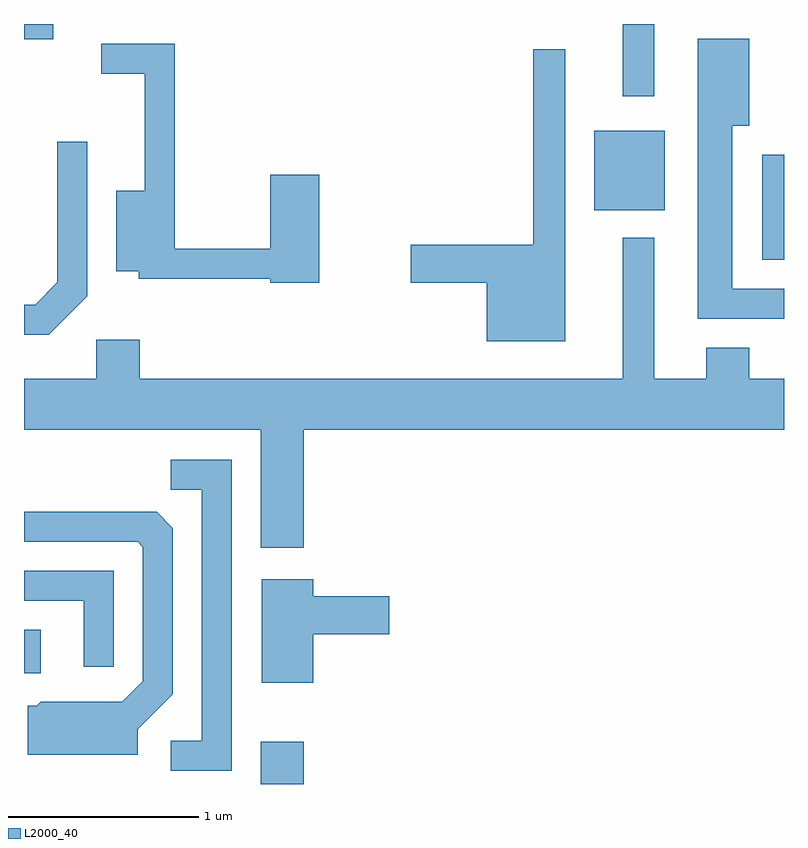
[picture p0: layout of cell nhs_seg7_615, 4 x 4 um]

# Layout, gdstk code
import gdstk
lib = gdstk.Library(unit=1e-6, precision=1e-09)
def R(c, l, rs):  # rectangles x0, y0, x1, y1
    for r in rs: c.add(gdstk.rectangle(r[:2], r[2:], *l))
def P(c, l, *ps):  # polygons
    for p in ps: c.add(gdstk.Polygon(p, *l))
L2000_40 = (2000, 40)

nhs_seg7_615 = lib.new_cell('nhs_seg7_615')
R(nhs_seg7_615, L2000_40, [(204.856,1690.252,205.084,1690.474), (203.611,1690.836,203.699,1691.064), (207.496,1693.011,207.611,1693.564), (206.611,1693.271,206.984,1693.689), (206.761,1693.873,206.929,1694.252), (203.611,1694.171,203.764,1694.252)])
P(nhs_seg7_615, L2000_40, [(207.611,1692.859),(207.339,1692.859),(207.339,1693.716),(207.429,1693.716),(207.429,1694.174),(207.156,1694.174),(207.156,1692.701),(207.611,1692.701)],
  [(205.164,1693.459),(204.906,1693.459),(204.906,1693.069),(204.404,1693.069),(204.404,1694.149),(204.018,1694.149),(204.018,1693.991),(204.246,1693.991),(204.246,1693.374),(204.096,1693.374),(204.096,1692.951),(204.216,1692.951),(204.216,1692.911),(204.906,1692.911),(204.906,1692.891),(205.164,1692.891)],
  [(206.459,1694.118),(206.291,1694.118),(206.291,1693.089),(205.646,1693.089),(205.646,1692.891),(206.046,1692.891),(206.046,1692.581),(206.459,1692.581)],
  [(203.944,1692.819),(203.944,1693.633),(203.786,1693.633),(203.786,1692.892),(203.669,1692.774),(203.611,1692.774),(203.611,1692.616),(203.742,1692.616)],
  [(205.084,1692.116),(207.611,1692.116),(207.611,1692.384),(207.429,1692.384),(207.429,1692.549),(207.201,1692.549),(207.201,1692.384),(206.929,1692.384),(206.929,1693.128),(206.761,1693.128),(206.761,1692.384),(204.219,1692.384),(204.219,1692.589),(203.991,1692.589),(203.991,1692.384),(203.611,1692.384),(203.611,1692.116),(204.856,1692.116),(204.856,1691.496),(205.084,1691.496)],
  [(204.704,1691.959),(204.383,1691.959),(204.383,1691.801),(204.546,1691.801),(204.546,1690.479),(204.383,1690.479),(204.383,1690.321),(204.704,1690.321)],
  [(204.209,1690.539),(204.394,1690.724),(204.394,1691.599),(204.309,1691.684),(203.611,1691.684),(203.611,1691.526),(204.209,1691.526),(204.236,1691.499),(204.236,1690.792),(204.129,1690.684),(203.699,1690.684),(203.679,1690.664),(203.631,1690.664),(203.631,1690.406),(204.209,1690.406)],
  [(204.084,1691.374),(203.611,1691.374),(203.611,1691.216),(203.926,1691.216),(203.926,1690.868),(204.084,1690.868)],
  [(205.134,1691.041),(205.534,1691.041),(205.534,1691.239),(205.134,1691.239),(205.134,1691.329),(204.861,1691.329),(204.861,1690.786),(205.134,1690.786)])

lib.write_gds('nhs_seg7_615.gds')
